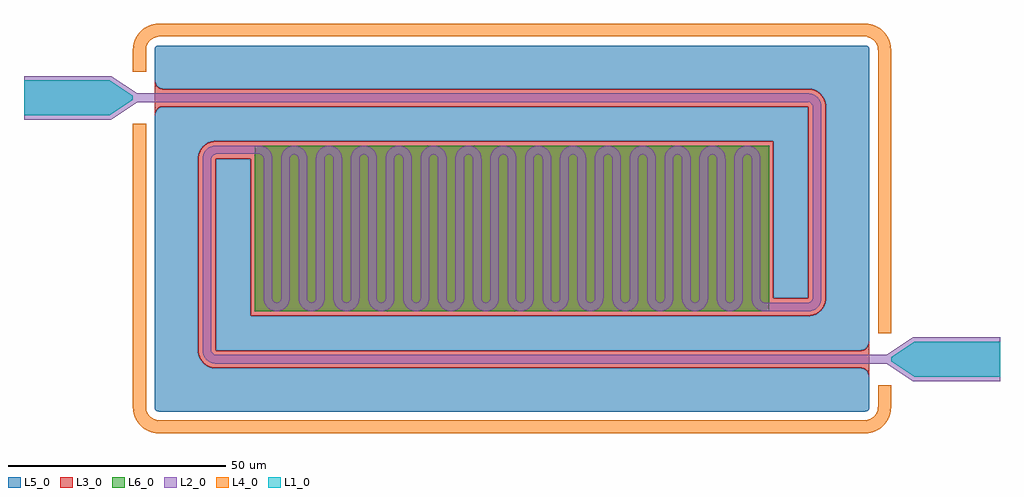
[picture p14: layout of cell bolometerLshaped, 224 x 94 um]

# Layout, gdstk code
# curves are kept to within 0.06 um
import gdstk
lib = gdstk.Library(unit=1e-6, precision=1e-09)
def R(c, l, rs):  # rectangles x0, y0, x1, y1
    for r in rs: c.add(gdstk.rectangle(r[:2], r[2:], *l))
def P(c, l, *ps):  # polygons
    for p in ps: c.add(gdstk.Polygon(p, *l))
L1_0 = (1, 0)
L2_0 = (2, 0)
L3_0 = (3, 0)
L4_0 = (4, 0)
L5_0 = (5, 0)
L6_0 = (6, 0)

bolometerlshaped = lib.new_cell('bolometerLshaped')
P(bolometerlshaped, L1_0, [(92.303,-34),(87,-30.465),(87,-29.535),(92.303,-26),(112,-26),(112,-34)],
  [(-112,26),(-112,34),(-92.303,34),(-87,30.465),(-87,29.535),(-92.303,26)])
P(bolometerlshaped, L2_0, [(92,-35),(86,-31),(-68,-31),(-68.845,-30.878),(-69.711,-30.464),(-70.402,-29.798),(-70.811,-29.048),(-71,-28),(-70.998,16.107),(-70.846,16.947),(-70.464,17.711),(-69.882,18.336),(-69.148,18.772),(-68,19),(-57.679,18.983),(-56.852,18.772),(-56.202,18.402),(-55.598,17.798),(-55.228,17.148),(-55,16),(-55,-16),(-54.91,-16.415),(-54.707,-16.707),(-54.415,-16.91),(-54,-17),(-53.585,-16.91),(-53.293,-16.707),(-53.09,-16.415),(-53,-16),(-52.992,16.214),(-52.846,16.947),(-52.524,17.622),(-51.965,18.267),(-51.343,18.683),(-50.742,18.907),(-50,19),(-49.258,18.907),(-48.657,18.683),(-48.035,18.267),(-47.598,17.798),(-47.228,17.148),(-47.031,16.427),(-47,-16),(-46.91,-16.415),(-46.707,-16.707),(-46.415,-16.91),(-46,-17),(-45.585,-16.91),(-45.293,-16.707),(-45.09,-16.415),(-45,-16),(-44.992,16.214),(-44.878,16.845),(-44.58,17.531),(-44.196,18.044),(-43.622,18.524),(-42.947,18.846),(-42.214,18.992),(-41.467,18.952),(-40.754,18.729),(-40.118,18.336),(-39.598,17.798),(-39.228,17.148),(-39.031,16.427),(-39,-16),(-38.91,-16.415),(-38.707,-16.707),(-38.415,-16.91),(-38,-17),(-37.651,-16.937),(-37.345,-16.756),(-37.09,-16.415),(-37.003,-16.071),(-36.998,16.107),(-36.729,17.246),(-36.044,18.196),(-35.343,18.683),(-34.638,18.931),(-33.893,18.998),(-33.053,18.846),(-32.378,18.524),(-31.733,17.965),(-31.317,17.343),(-31.048,16.533),(-31,-16),(-30.91,-16.415),(-30.707,-16.707),(-30.415,-16.91),(-30,-17),(-29.651,-16.937),(-29.345,-16.756),(-29.09,-16.415),(-29.003,-16.071),(-29,16),(-28.878,16.845),(-28.524,17.622),(-27.965,18.267),(-27.148,18.772),(-26.321,18.983),(-25.467,18.952),(-24.657,18.683),(-23.879,18.121),(-23.317,17.343),(-23.048,16.533),(-23,-16),(-22.91,-16.415),(-22.707,-16.707),(-22.415,-16.91),(-22,-17),(-21.585,-16.91),(-21.293,-16.707),(-21.09,-16.415),(-21,-16),(-20.952,16.533),(-20.633,17.438),(-20.044,18.196),(-19.246,18.729),(-18.321,18.983),(-17.362,18.931),(-16.469,18.58),(-15.733,17.965),(-15.228,17.148),(-15,16),(-15,-16),(-14.91,-16.415),(-14.707,-16.707),(-14.415,-16.91),(-14,-17),(-13.585,-16.91),(-13.293,-16.707),(-13.09,-16.415),(-13,-16),(-12.952,16.533),(-12.683,17.343),(-12.196,18.044),(-11.531,18.58),(-10.742,18.907),(-10,19),(-9.155,18.878),(-8.378,18.524),(-7.733,17.965),(-7.228,17.148),(-7.002,16.107),(-6.997,-16.071),(-6.91,-16.415),(-6.655,-16.756),(-6.349,-16.937),(-6,-17),(-5.585,-16.91),(-5.293,-16.707),(-5.09,-16.415),(-5,-16),(-4.952,16.533),(-4.729,17.246),(-4.336,17.882),(-3.798,18.402),(-3.148,18.772),(-2.427,18.969),(-1.679,18.983),(-0.852,18.772),(-0.202,18.402),(0.267,17.965),(0.633,17.438),(0.878,16.845),(0.992,16.214),(1,-16),(1.09,-16.415),(1.293,-16.707),(1.585,-16.91),(2,-17),(2.415,-16.91),(2.707,-16.707),(2.91,-16.415),(3,-16),(3.031,16.427),(3.228,17.148),(3.598,17.798),(4.035,18.267),(4.657,18.683),(5.362,18.931),(6.107,18.998),(6.845,18.878),(7.531,18.58),(8.044,18.196),(8.524,17.622),(8.846,16.947),(8.992,16.214),(9,-16),(9.09,-16.415),(9.293,-16.707),(9.585,-16.91),(10,-17),(10.415,-16.91),(10.707,-16.707),(10.91,-16.415),(11,-16),(11.031,16.427),(11.228,17.148),(11.536,17.711),(12.035,18.267),(12.562,18.633),(13.258,18.907),(13.893,18.998),(14.533,18.952),(15.148,18.772),(15.798,18.402),(16.402,17.798),(16.811,17.048),(16.992,16.214),(17,-16),(17.09,-16.415),(17.293,-16.707),(17.585,-16.91),(18,-17),(18.415,-16.91),(18.707,-16.707),(18.91,-16.415),(19,-16),(19.031,16.427),(19.189,17.048),(19.476,17.622),(19.956,18.196),(20.469,18.58),(21.053,18.846),(21.679,18.983),(22.321,18.983),(23.048,18.811),(23.798,18.402),(24.402,17.798),(24.811,17.048),(24.992,16.214),(25,-16),(25.09,-16.415),(25.293,-16.707),(25.585,-16.91),(26,-17),(26.415,-16.91),(26.707,-16.707),(26.91,-16.415),(27,-16),(27.031,16.427),(27.189,17.048),(27.476,17.622),(27.956,18.196),(28.469,18.58),(29.053,18.846),(29.679,18.983),(30.321,18.983),(31.048,18.811),(31.798,18.402),(32.402,17.798),(32.811,17.048),(32.992,16.214),(33,-16),(33.09,-16.415),(33.293,-16.707),(33.585,-16.91),(34,-17),(34.415,-16.91),(34.707,-16.707),(34.91,-16.415),(35,-16),(35.031,16.427),(35.189,17.048),(35.476,17.622),(35.879,18.121),(36.378,18.524),(36.952,18.811),(37.679,18.983),(38.321,18.983),(38.947,18.846),(39.711,18.464),(40.336,17.882),(40.772,17.148),(40.983,16.321),(41,-16),(41.09,-16.415),(41.293,-16.707),(41.585,-16.91),(42,-17),(42.415,-16.91),(42.707,-16.707),(42.91,-16.415),(43,-16),(43.031,16.427),(43.189,17.048),(43.476,17.622),(43.879,18.121),(44.378,18.524),(44.952,18.811),(45.573,18.969),(46.214,18.992),(46.845,18.878),(47.622,18.524),(48.267,17.965),(48.772,17.148),(48.983,16.321),(49,-16),(49.09,-16.415),(49.293,-16.707),(49.585,-16.91),(50,-17),(50.415,-16.91),(50.707,-16.707),(50.91,-16.415),(51,-16),(51.017,16.321),(51.154,16.947),(51.42,17.531),(51.804,18.044),(52.289,18.464),(52.852,18.772),(53.467,18.952),(54.107,18.998),(54.742,18.907),(55.622,18.524),(56.267,17.965),(56.772,17.148),(56.992,16.214),(57,-16),(57.063,-16.349),(57.401,-16.801),(57.929,-16.997),(68.071,-16.997),(68.415,-16.91),(68.732,-16.681),(68.924,-16.383),(69,-16),(69,28),(68.801,28.599),(68.316,28.949),(-86,29),(-92,25),(-112,25),(-112,35),(-92,35),(-86,31),(68,31),(68.947,30.846),(69.798,30.402),(70.402,29.798),(70.846,28.947),(71,28),(70.998,-16.107),(70.846,-16.947),(70.464,-17.711),(69.882,-18.336),(69.148,-18.772),(68,-19),(57.679,-18.983),(56.852,-18.772),(56.202,-18.402),(55.598,-17.798),(55.228,-17.148),(55,-16),(54.999,16.036),(54.924,16.383),(54.707,16.707),(54.383,16.924),(54,17),(53.617,16.924),(53.293,16.707),(53.076,16.383),(53.001,16.036),(52.992,-16.214),(52.811,-17.048),(52.524,-17.622),(51.965,-18.267),(51.438,-18.633),(50.638,-18.931),(50,-19),(49.362,-18.931),(48.562,-18.633),(48.035,-18.267),(47.598,-17.798),(47.189,-17.048),(47.031,-16.427),(46.999,16.036),(46.924,16.383),(46.707,16.707),(46.383,16.924),(46,17),(45.617,16.924),(45.293,16.707),(45.076,16.383),(45.001,16.036),(44.992,-16.214),(44.878,-16.845),(44.633,-17.438),(44.267,-17.965),(43.798,-18.402),(43.048,-18.811),(42.214,-18.992),(41.362,-18.931),(40.754,-18.729),(40.202,-18.402),(39.598,-17.798),(39.189,-17.048),(39.031,-16.427),(38.999,16.036),(38.924,16.383),(38.707,16.707),(38.383,16.924),(38,17),(37.617,16.924),(37.293,16.707),(37.076,16.383),(37.001,16.036),(37,-16),(36.811,-17.048),(36.267,-17.965),(35.622,-18.524),(34.845,-18.878),(34,-19),(33.155,-18.878),(32.378,-18.524),(31.733,-17.965),(31.271,-17.246),(31.031,-16.427),(30.999,16.036),(30.924,16.383),(30.707,16.707),(30.383,16.924),(30,17),(29.617,16.924),(29.293,16.707),(29.076,16.383),(29.001,16.036),(29,-16),(28.931,-16.638),(28.729,-17.246),(28.267,-17.965),(27.622,-18.524),(26.638,-18.931),(25.786,-18.992),(24.952,-18.811),(24.035,-18.267),(23.476,-17.622),(23.069,-16.638),(23,-16),(22.999,16.036),(22.91,16.415),(22.681,16.732),(22.349,16.937),(21.964,16.999),(21.617,16.924),(21.293,16.707),(21.076,16.383),(21.001,16.036),(21,-16),(20.931,-16.638),(20.633,-17.438),(20.121,-18.121),(19.438,-18.633),(18.638,-18.931),(17.786,-18.992),(16.952,-18.811),(16.202,-18.402),(15.476,-17.622),(15.122,-16.845),(15,-16),(14.999,16.036),(14.924,16.383),(14.707,16.707),(14.383,16.924),(14,17),(13.617,16.924),(13.293,16.707),(13.076,16.383),(13.001,16.036),(12.969,-16.427),(12.811,-17.048),(12.402,-17.798),(11.798,-18.402),(11.048,-18.811),(10.214,-18.992),(9.362,-18.931),(8.562,-18.633),(7.879,-18.121),(7.271,-17.246),(7.069,-16.638),(7,-16),(6.999,16.036),(6.924,16.383),(6.707,16.707),(6.383,16.924),(6,17),(5.617,16.924),(5.293,16.707),(5.076,16.383),(5.001,16.036),(4.969,-16.427),(4.811,-17.048),(4.402,-17.798),(3.798,-18.402),(3.246,-18.729),(2.638,-18.931),(1.786,-18.992),(0.952,-18.811),(0.378,-18.524),(-0.121,-18.121),(-0.524,-17.622),(-0.811,-17.048),(-0.992,-16.214),(-1.001,16.036),(-1.076,16.383),(-1.293,16.707),(-1.617,16.924),(-2,17),(-2.383,16.924),(-2.707,16.707),(-2.924,16.383),(-2.999,16.036),(-3.031,-16.427),(-3.189,-17.048),(-3.598,-17.798),(-4.035,-18.267),(-4.562,-18.633),(-5.362,-18.931),(-6,-19),(-6.638,-18.931),(-7.246,-18.729),(-7.798,-18.402),(-8.402,-17.798),(-8.811,-17.048),(-8.992,-16.214),(-9.001,16.036),(-9.076,16.383),(-9.293,16.707),(-9.617,16.924),(-10,17),(-10.383,16.924),(-10.707,16.707),(-10.924,16.383),(-10.999,16.036),(-11.031,-16.427),(-11.189,-17.048),(-11.476,-17.622),(-11.879,-18.121),(-12.378,-18.524),(-12.952,-18.811),(-13.786,-18.992),(-14.427,-18.969),(-15.048,-18.811),(-15.798,-18.402),(-16.402,-17.798),(-16.811,-17.048),(-16.992,-16.214),(-17.001,16.036),(-17.076,16.383),(-17.293,16.707),(-17.617,16.924),(-18,17),(-18.383,16.924),(-18.707,16.707),(-18.924,16.383),(-18.999,16.036),(-19.031,-16.427),(-19.189,-17.048),(-19.476,-17.622),(-19.879,-18.121),(-20.378,-18.524),(-20.952,-18.811),(-21.786,-18.992),(-22.427,-18.969),(-23.048,-18.811),(-23.798,-18.402),(-24.402,-17.798),(-24.811,-17.048),(-24.992,-16.214),(-25.001,16.036),(-25.076,16.383),(-25.293,16.707),(-25.617,16.924),(-26,17),(-26.383,16.924),(-26.707,16.707),(-26.924,16.383),(-26.999,16.036),(-27.031,-16.427),(-27.189,-17.048),(-27.476,-17.622),(-27.879,-18.121),(-28.378,-18.524),(-28.952,-18.811),(-29.786,-18.992),(-30.427,-18.969),(-31.048,-18.811),(-31.798,-18.402),(-32.402,-17.798),(-32.811,-17.048),(-32.992,-16.214),(-33.001,16.036),(-33.076,16.383),(-33.293,16.707),(-33.617,16.924),(-34,17),(-34.383,16.924),(-34.707,16.707),(-34.924,16.383),(-34.999,16.036),(-35.031,-16.427),(-35.189,-17.048),(-35.476,-17.622),(-35.879,-18.121),(-36.378,-18.524),(-36.952,-18.811),(-37.573,-18.969),(-38.214,-18.992),(-38.845,-18.878),(-39.798,-18.402),(-40.402,-17.798),(-40.811,-17.048),(-40.992,-16.214),(-41.001,16.036),(-41.076,16.383),(-41.293,16.707),(-41.617,16.924),(-42,17),(-42.383,16.924),(-42.707,16.707),(-42.924,16.383),(-42.999,16.036),(-43.031,-16.427),(-43.189,-17.048),(-43.476,-17.622),(-43.879,-18.121),(-44.378,-18.524),(-44.952,-18.811),(-45.573,-18.969),(-46.214,-18.992),(-46.845,-18.878),(-47.798,-18.402),(-48.402,-17.798),(-48.811,-17.048),(-48.992,-16.214),(-49.001,16.036),(-49.076,16.383),(-49.293,16.707),(-49.617,16.924),(-50,17),(-50.383,16.924),(-50.707,16.707),(-50.924,16.383),(-50.999,16.036),(-51.031,-16.427),(-51.189,-17.048),(-51.476,-17.622),(-51.879,-18.121),(-52.378,-18.524),(-52.952,-18.811),(-53.573,-18.969),(-54.214,-18.992),(-54.845,-18.878),(-55.798,-18.402),(-56.402,-17.798),(-56.811,-17.048),(-56.992,-16.214),(-57,16),(-57.063,16.349),(-57.401,16.801),(-57.929,16.997),(-68.071,16.997),(-68.415,16.91),(-68.732,16.681),(-68.924,16.383),(-69,16),(-68.949,-28.316),(-68.599,-28.801),(-68,-29),(86,-29),(92,-25),(112,-25),(112,-35)])
P(bolometerlshaped, L3_0, [(82,-34),(81.819,-33.169),(81.511,-32.69),(80.831,-32.181),(80,-32),(-68,-32),(-68.85,-31.909),(-69.531,-31.696),(-70.51,-31.115),(-71.365,-30.163),(-71.838,-29.127),(-72,-28),(-71.99,16.285),(-71.748,17.398),(-71.286,18.281),(-70.51,19.115),(-69.531,19.696),(-68.85,19.909),(-68,20),(60,20),(60,-16),(68,-16),(68,28),(-80,28),(-80.831,27.819),(-81.31,27.511),(-81.819,26.831),(-82,26),(-82,34),(-81.819,33.169),(-81.511,32.69),(-80.831,32.181),(-80,32),(68,32),(68.85,31.909),(69.531,31.696),(70.51,31.115),(71.365,30.163),(71.838,29.127),(72,28),(71.99,-16.285),(71.748,-17.398),(71.286,-18.281),(70.51,-19.115),(69.531,-19.696),(68.85,-19.909),(68,-20),(-60,-20),(-60,16),(-68,16),(-68,-28),(80,-28),(80.831,-27.819),(81.31,-27.511),(81.819,-26.831),(82,-26)])
P(bolometerlshaped, L4_0, [(-81,-47),(-82.062,-46.906),(-83.2,-46.584),(-84.234,-46.055),(-85.034,-45.442),(-85.72,-44.705),(-86.344,-43.732),(-86.772,-42.643),(-86.983,-41.462),(-87,24),(-84,24),(-83.999,-41.077),(-83.842,-41.962),(-83.447,-42.737),(-82.795,-43.404),(-82.032,-43.818),(-81,-44),(81.154,-43.996),(82.032,-43.818),(82.737,-43.447),(83.404,-42.795),(83.818,-42.032),(83.999,-41.077),(84,-36),(87,-36),(86.983,-41.462),(86.772,-42.643),(86.344,-43.732),(85.537,-44.927),(84.355,-45.975),(82.925,-46.685),(81.462,-46.983)],
  [(84,-24),(83.999,41.077),(83.842,41.962),(83.447,42.737),(82.852,43.36),(82.1,43.792),(81,44),(-81.154,43.996),(-82.032,43.818),(-82.737,43.447),(-83.404,42.795),(-83.818,42.032),(-83.999,41.077),(-84,36),(-87,36),(-86.992,41.309),(-86.878,42.209),(-86.584,43.2),(-86.205,43.987),(-85.72,44.705),(-85.14,45.343),(-84.474,45.893),(-83.732,46.344),(-82.925,46.685),(-82.062,46.906),(-81.155,46.998),(81,47),(82.062,46.906),(83.2,46.584),(83.987,46.205),(84.705,45.72),(85.442,45.034),(85.975,44.355),(86.408,43.601),(86.73,42.784),(86.931,41.914),(87,41),(87,-24)])
P(bolometerlshaped, L5_0, [(-81,-42),(-81.389,-41.921),(-81.707,-41.707),(-81.921,-41.389),(-82,-41),(-82,26),(-81.919,26.563),(-81.683,27.081),(-81.31,27.511),(-80.831,27.819),(-80,28),(68,28),(68,-16),(60,-16),(60,20),(-68,20),(-68.85,19.909),(-69.531,19.696),(-70.51,19.115),(-71.286,18.281),(-71.748,17.398),(-71.99,16.285),(-72,-28),(-71.936,-28.71),(-71.511,-29.917),(-71.115,-30.51),(-70.619,-31.023),(-69.531,-31.696),(-68.85,-31.909),(-68.143,-31.997),(80.285,-32.02),(80.831,-32.181),(81.31,-32.489),(81.683,-32.919),(81.98,-33.715),(81.999,-41.051),(81.829,-41.559),(81.434,-41.901),(81,-42)],
  [(-68,-28),(-68,16),(-60,16),(-60,-20),(68,-20),(68.85,-19.909),(69.531,-19.696),(70.51,-19.115),(71.286,-18.281),(71.748,-17.398),(71.99,-16.285),(72,28),(71.936,28.71),(71.511,29.917),(71.115,30.51),(70.619,31.023),(69.531,31.696),(68.85,31.909),(68.143,31.997),(-80.285,32.02),(-80.831,32.181),(-81.31,32.489),(-81.683,32.919),(-81.98,33.715),(-81.999,41.051),(-81.829,41.559),(-81.434,41.901),(-81,42),(81,42),(81.519,41.855),(81.901,41.434),(82,41),(82,-26),(81.919,-26.563),(81.683,-27.081),(81.31,-27.511),(80.831,-27.819),(80,-28)])
R(bolometerlshaped, L6_0, [(-59,-19,59,19)])

lib.write_gds('bolometerLshaped.gds')
